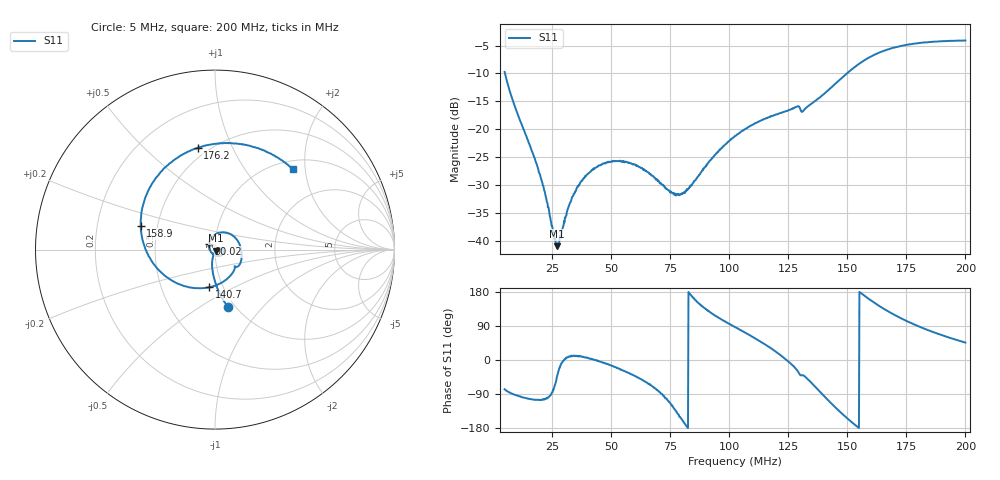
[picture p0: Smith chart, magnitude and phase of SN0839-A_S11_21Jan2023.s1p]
# Hz S DB R 50
! CMT, M5045, 22160017, 22.4.3/2
! Date: 1/21/2023 20:22:36
! Data: Format (Calibration Info)
! Freq	S11:dB/Ang(F1)
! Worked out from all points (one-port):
!   1001 points, 5 MHz to 200 MHz, reference 50 ohm
!   lowest |S11| = -41.0 dB at 27.04 MHz (marker M1), VSWR 1.02, Z = 50.6 - j0.659 ohm
!   |S11| at or under -10 dB: 5.158 MHz to 149.8 MHz (144.7 MHz wide, 187 % of centre)
!   S11 on the Smith chart (normalised r, x): 5 MHz: 0.93, -0.66; 90.02 MHz: 0.94, +0.06; 140.7 MHz: 0.86, -0.38; 158.9 MHz: 0.40, +0.13; 176.2 MHz: 0.44, +0.74; 200 MHz: 1.17, +1.72
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5000000  -9.73 -77.2
1.046e7  -17.23 -94.4
1.943e7  -27.62 -105.3
2.606e7  -39.71 -69.5
2.7035e7  -40.96 -46.7
2.801e7  -40.44 -25.8
2.9375e7  -38.01 -6.0
3.2885e7  -33.06 10.9
3.815e7  -29.01 7.6
4.556e7  -26.46 -4.5
5.375e7  -25.75 -23.8
6.2915e7  -26.95 -51.3
7.8125e7  -31.63 -141.0
8.2025e7  -30.79 -174.6
9.002e7  -26.72 134.7
1.025e8  -21.23 87.1
1.1537e8  -18.11 40.3
1.26875e8  -16.33 -14.1
1.3136e8  -16.73 -40.5
1.4072e8  -13.47 -98.5
1.4579e8  -11.51 -130.0
1.5125e8  -9.51 -160.4
1.58855e8  -7.26 162.4
1.65875e8  -5.88 133.6
1.75625e8  -4.86 101.4
1.7621e8  -4.80 99.7
1.8635e8  -4.32 73.7
2e8  -4.11 45.9
